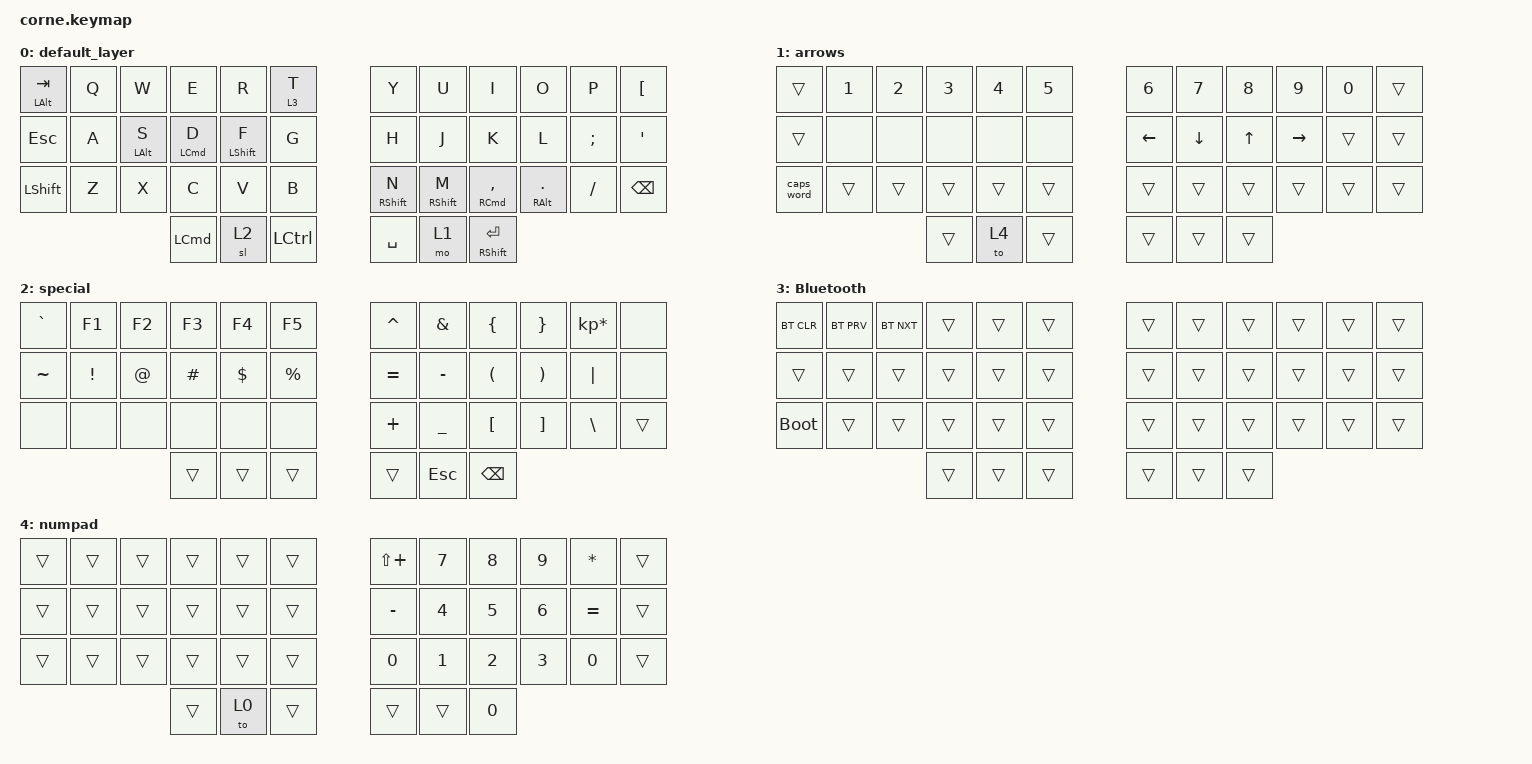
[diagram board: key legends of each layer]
/*
 * Copyright (c) 2020 The ZMK Contributors
 *
 * SPDX-License-Identifier: MIT
 */
/* from https://github.com/urob/zmk-nodefree-config/tree/8506dbaaee9b46d200aa553a94b6dbca8560a5e1 */

#define HOST_OS 2  // set to 2 for macOS/Windows-Alt-Codes, default is 0 (Windows)

/*
* #include "../zmk-nodefree-config/helper.h"
* #include "../zmk-nodefree-config/international_chars/swedish.dtsi"
*/

#include <behaviors.dtsi>
#include <dt-bindings/zmk/bt.h>
#include <dt-bindings/zmk/keys.h>

/ {
    combos {
        compatible = "zmk,combos";

        escapedouble {
            bindings = <&kp ESCAPE>;
            key-positions = <16 19>;
            layers = <0>;
        };
    };

    behaviors {
        hmr: hmr {
            compatible = "zmk,behavior-hold-tap";
            label = "HMR";
            bindings = <&kp>, <&kp>;

            #binding-cells = <2>;
            tapping-term-ms = <240>;
            quick-tap-ms = <175>;
            flavor = "balanced";
            hold-trigger-on-release;
            hold-trigger-key-positions = <0 1 2 3 4 5 12 13 14 15 16 17 24 25 26 27 28 29 36 37 38 39 40 41>;
            require-prior-idle-ms = <100>;
        };

        hml: hml {
            compatible = "zmk,behavior-hold-tap";
            label = "HML";
            bindings = <&kp>, <&kp>;

            #binding-cells = <2>;
            tapping-term-ms = <240>;
            quick-tap-ms = <175>;
            require-prior-idle-ms = <100>;
            flavor = "balanced";
            hold-trigger-key-positions = <6 7 8 9 10 11 18 19 20 21 22 23 30 31 32 33 34 35 39 40 41 38 37 36>;
            hold-trigger-on-release;
        };
    };

    keymap {
        compatible = "zmk,keymap";

        default_layer {
            bindings = <
&mt LEFT_ALT TAB  &kp Q  &kp W            &kp E                &kp R              &lt 3 T      &kp Y               &kp U               &kp I                     &kp O                  &kp P     &kp LEFT_BRACKET
&kp ESC           &kp A  &hmr LEFT_ALT S  &hmr LEFT_COMMAND D  &hmr LEFT_SHIFT F  &kp G        &kp H               &kp J               &kp K                     &kp L                  &kp SEMI  &kp SQT
&kp LSHFT         &kp Z  &kp X            &kp C                &kp V              &kp B        &hml RIGHT_SHIFT N  &hml RIGHT_SHIFT M  &hml RIGHT_COMMAND COMMA  &hml RIGHT_ALT PERIOD  &kp FSLH  &kp BACKSPACE
                                          &kp LEFT_COMMAND     &sl 2              &kp LCTRL    &kp SPACE           &mo 1               &mt RIGHT_SHIFT RETURN
            >;
        };

        arrows {
            // right thumb

            bindings = <
&trans      &kp N1  &kp N2  &kp N3  &kp N4  &kp N5    &kp N6    &kp N7    &kp N8  &kp N9     &kp N0  &trans
&trans      &none   &none   &none   &none   &none     &kp LEFT  &kp DOWN  &kp UP  &kp RIGHT  &trans  &trans
&caps_word  &trans  &trans  &trans  &trans  &trans    &trans    &trans    &trans  &trans     &trans  &trans
                            &trans  &to 4   &trans    &trans    &trans    &trans
            >;
        };

        special {
            //left thumb

            bindings = <
&kp GRAVE  &kp F1    &kp F2  &kp F3    &kp F4      &kp F5         &kp CARET  &kp AMPS        &kp LEFT_BRACE        &kp RIGHT_BRACE        &kp KP_MULTIPLY  &none
&kp TILDE  &kp EXCL  &kp AT  &kp HASH  &kp DOLLAR  &kp PERCENT    &kp EQUAL  &kp MINUS       &kp LEFT_PARENTHESIS  &kp RIGHT_PARENTHESIS  &kp PIPE         &none
&none      &none     &none   &none     &none       &none          &kp PLUS   &kp UNDERSCORE  &kp LEFT_BRACKET      &kp RIGHT_BRACKET      &kp BACKSLASH    &trans
                             &trans    &trans      &trans         &trans     &kp ESCAPE      &kp BACKSPACE
            >;
        };

        Bluetooth {
            bindings = <
&bt BT_CLR   &bt BT_PRV  &bt BT_NXT  &trans  &trans  &trans    &trans  &trans  &trans  &trans  &trans  &trans
&trans       &trans      &trans      &trans  &trans  &trans    &trans  &trans  &trans  &trans  &trans  &trans
&bootloader  &trans      &trans      &trans  &trans  &trans    &trans  &trans  &trans  &trans  &trans  &trans
                                     &trans  &trans  &trans    &trans  &trans  &trans
            >;
        };

        numpad {
            bindings = <
&trans  &trans  &trans  &trans  &trans  &trans    &kp LS(PLUS)  &kp N7  &kp N8  &kp N9  &kp STAR   &trans
&trans  &trans  &trans  &trans  &trans  &trans    &kp MINUS     &kp N4  &kp N5  &kp N6  &kp EQUAL  &trans
&trans  &trans  &trans  &trans  &trans  &trans    &kp N0        &kp N1  &kp N2  &kp N3  &kp N0     &trans
                        &trans  &to 0   &trans    &trans        &trans  &kp N0
            >;
        };
    };
};
